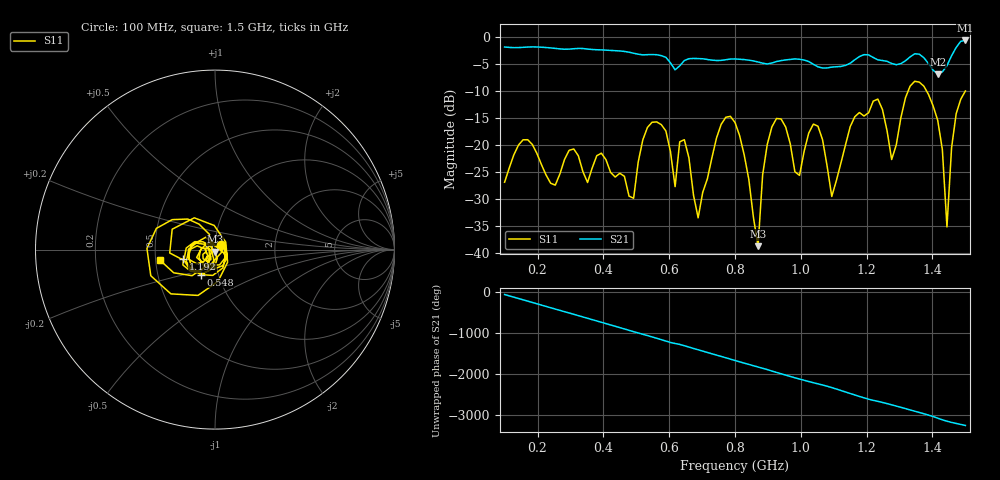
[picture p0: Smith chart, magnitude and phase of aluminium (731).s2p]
! NanoVNA-App
! Date: 2025-09-25 15:00:58
! Start: 100MHz Stop: 1,5GHz Points: 101
! S-Parameter data: F S11 S21 S12 S22
# Hz S RI R 50
!  Frequency  S11_Real  S11_Imag  S21_Real  S21_Imag  S12_Real  S12_Imag  S22_Real  S22_Imag
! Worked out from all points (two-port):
!   101 points, 100 MHz to 1.5 GHz, reference 50 ohm
!   highest |S21| = -0.70 dB at 1.5 GHz (marker M1); lowest = -6.9 dB at 1.416 GHz (marker M2)
!   |S21| within 3 dB of the highest: start of sweep to 584.5 MHz; 1.457 GHz to end of sweep (the widest 2 of 4)
!   lowest |S11| = -38.8 dB at 870 MHz (marker M3), VSWR 1.02, Z = 50.1 - j1.15 ohm
!   |S11| at or under -10 dB: start of sweep to 1.327 GHz; 1.381 GHz to end of sweep
!   S12 and S22 are empty: the file has one direction only
!   S11 on the Smith chart (normalised r, x): 100 MHz: 1.07, +0.06; 548 MHz: 0.82, -0.23; 1.192 GHz: 0.70, -0.08; 1.5 GHz: 0.53, -0.07
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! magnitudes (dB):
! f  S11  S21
! 100 MHz  -27.0  -1.9
! 156 MHz  -19.1  -2.0
! 338 MHz  -25.0  -2.2
! 492 MHz  -29.9  -3.1
! 548 MHz  -15.9  -3.3
! 576 MHz  -16.3  -3.5
! 618 MHz  -27.8  -6.1
! 646 MHz  -19.1  -4.4
! 688 MHz  -33.6  -4.1
! 800 MHz  -15.9  -4.1
! 870 MHz  -38.8  -4.7
! 912 MHz  -16.7  -4.9
! 996 MHz  -25.7  -4.2
! 1.038 GHz  -16.2  -5.1
! 1.094 GHz  -29.6  -5.6
! 1.192 GHz  -14.7  -3.3
! 1.276 GHz  -22.8  -5.0
! 1.346 GHz  -8.3  -3.2
! 1.416 GHz  -15.5  -6.9
! 1.444 GHz  -35.2  -5.4
! 1.472 GHz  -14.3  -2.0
! 1.5 GHz  -10.1  -0.7
